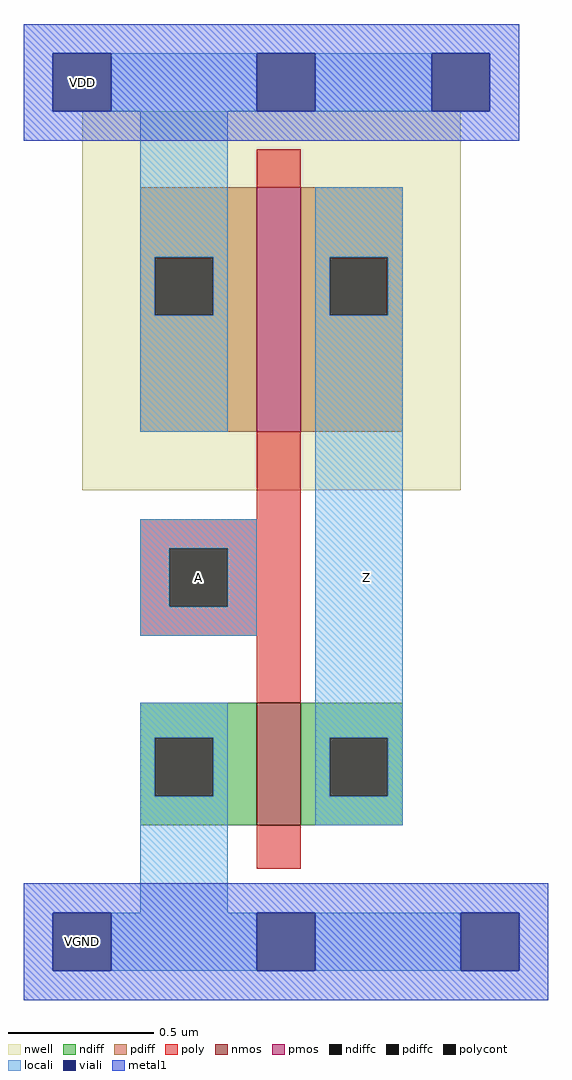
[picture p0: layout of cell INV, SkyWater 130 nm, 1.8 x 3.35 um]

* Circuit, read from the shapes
.subckt INV A VDD VGND Z
XM1 Z A VGND VSUBS sky130_fd_pr__nfet_01v8 w=0.42 l=0.15
XM2 Z A VDD n1 sky130_fd_pr__pfet_01v8 w=0.84 l=0.15
.ends

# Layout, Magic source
magic
tech sky130A
<< nwell >>
rect 250 10 380 140
<< nmos >>
rect 310 -105 325 -63
<< pmos >>
rect 310 30 325 114
<< ndiff >>
rect 270 -75 310 -63
rect 270 -95 275 -75
rect 295 -95 310 -75
rect 270 -105 310 -95
rect 325 -75 360 -63
rect 325 -95 335 -75
rect 355 -95 360 -75
rect 325 -105 360 -95
<< pdiff >>
rect 270 90 310 114
rect 270 70 275 90
rect 295 70 310 90
rect 270 30 310 70
rect 325 90 360 114
rect 325 70 335 90
rect 355 70 360 90
rect 325 30 360 70
<< ndiffc >>
rect 275 -95 295 -75
rect 335 -95 355 -75
<< pdiffc >>
rect 275 70 295 90
rect 335 70 355 90
<< poly >>
rect 310 114 325 127
rect 310 0 325 30
rect 270 -10 325 0
rect 270 -30 280 -10
rect 300 -30 325 -10
rect 270 -40 325 -30
rect 310 -63 325 -40
rect 310 -120 325 -105
<< polycont >>
rect 280 -30 300 -10
<< locali >>
rect 260 140 310 160
rect 330 140 370 160
rect 270 90 300 140
rect 270 70 275 90
rect 295 70 300 90
rect 270 30 300 70
rect 330 90 360 114
rect 330 70 335 90
rect 355 70 360 90
rect 270 -10 310 0
rect 270 -30 280 -10
rect 300 -30 310 -10
rect 270 -40 310 -30
rect 270 -75 300 -63
rect 270 -95 275 -75
rect 295 -95 300 -75
rect 270 -135 300 -95
rect 330 -75 360 70
rect 330 -95 335 -75
rect 355 -95 360 -75
rect 330 -105 360 -95
rect 260 -155 310 -135
rect 330 -155 380 -135
<< viali >>
rect 240 140 260 160
rect 310 140 330 160
rect 370 140 390 160
rect 240 -155 260 -135
rect 310 -155 330 -135
rect 380 -155 400 -135
<< metal1 >>
rect 230 160 400 170
rect 230 140 240 160
rect 260 140 310 160
rect 330 140 370 160
rect 390 140 400 160
rect 230 130 400 140
rect 230 -135 410 -125
rect 230 -155 240 -135
rect 260 -155 310 -135
rect 330 -155 380 -135
rect 400 -155 410 -135
rect 230 -165 410 -155
<< labels >>
rlabel viali 240 -155 260 -135 1 VGND
rlabel viali 240 140 260 160 1 VDD
rlabel locali 270 -40 310 0 1 A
rlabel locali 335 -40 360 0 1 Z
<< end >>
